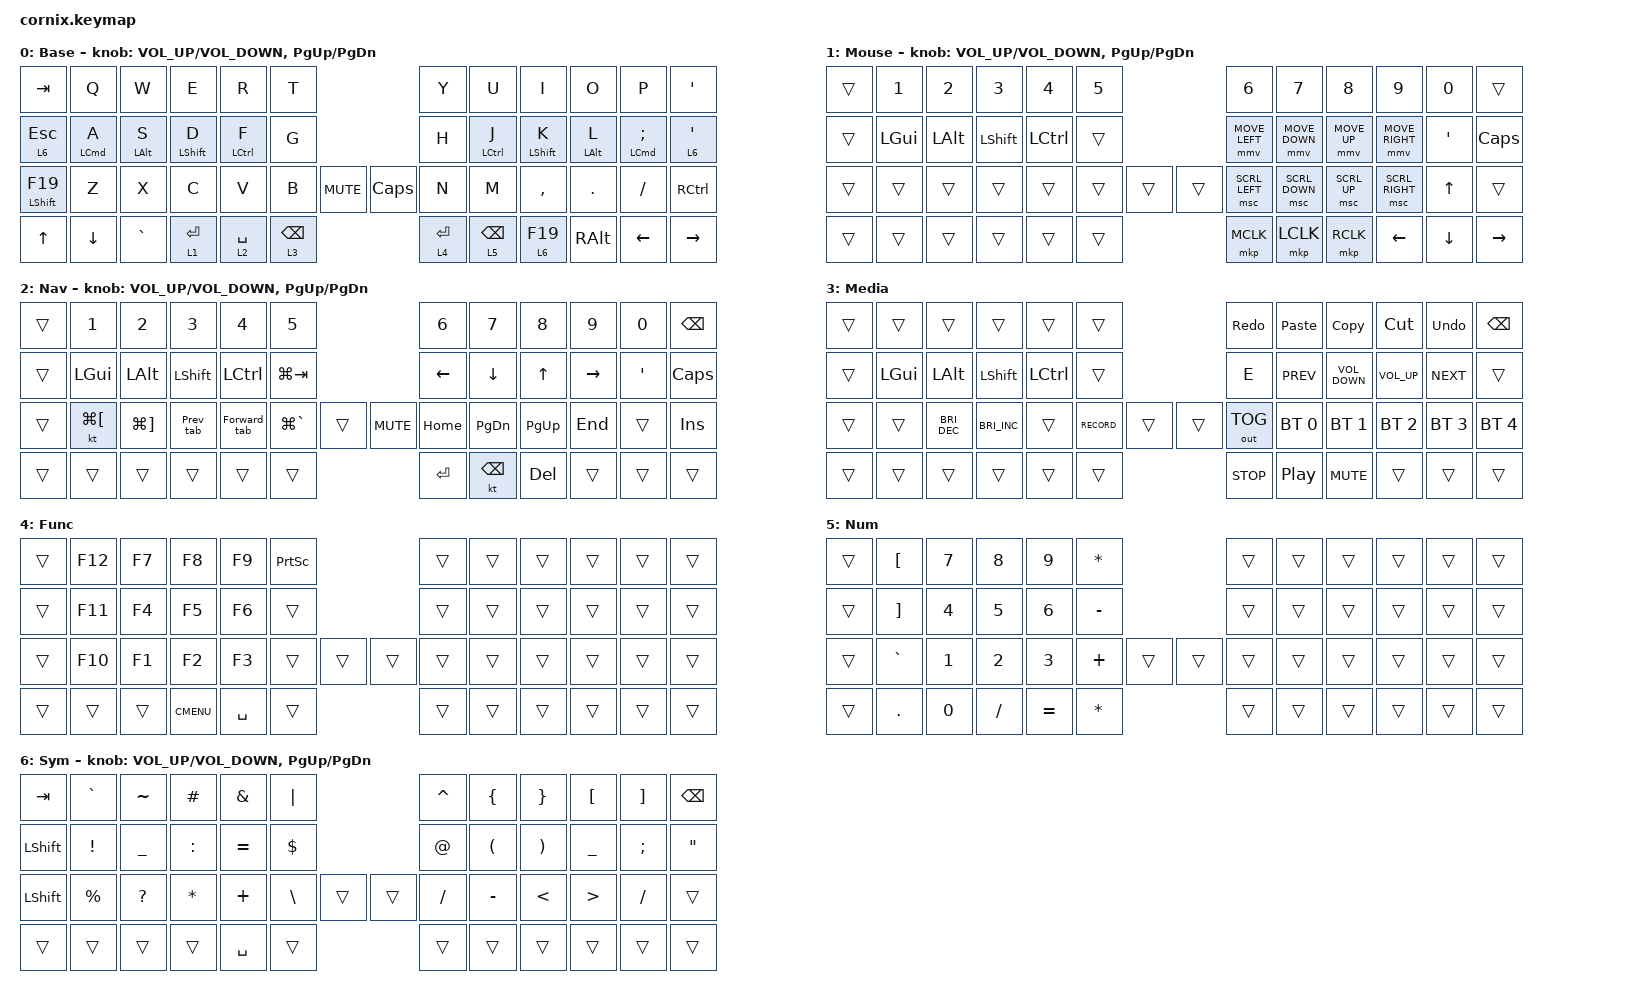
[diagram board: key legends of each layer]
/*
 * Copyright (c) 2024 The ZMK Contributors
 *
 * SPDX-License-Identifier: MIT
 */

#define ZMK_POINTING_DEFAULT_MOVE_VAL 1500  // default: 600
#define ZMK_POINTING_DEFAULT_SCRL_VAL 20    // default: 10

#include <behaviors.dtsi>
#include <dt-bindings/zmk/bt.h>
#include <dt-bindings/zmk/keys.h>
#include <dt-bindings/zmk/outputs.h>
#include <dt-bindings/zmk/pointing.h>

/ {
    behaviors {
        mt: mod_tap {
            compatible = "zmk,behavior-hold-tap";
            #binding-cells = <2>;
            flavor = "tap-preferred";
            tapping-term-ms = <180>;
            bindings = <&kp>, <&kp>;

            display-name = "Mod-Tap";
        };
    };

    macros {
        Redo: Redo {
            compatible = "zmk,behavior-macro";
            #binding-cells = <0>;
            bindings = <&kp LG(LS(Z))>;
            label = "REDO";
        };

        Undo: Undo {
            compatible = "zmk,behavior-macro";
            #binding-cells = <0>;
            bindings = <&kp LG(Z)>;
            label = "UNDO";
        };

        Copy: Copy {
            compatible = "zmk,behavior-macro";
            #binding-cells = <0>;
            bindings = <&kp LG(C)>;
            label = "COPY";
        };

        Paste: Paste {
            compatible = "zmk,behavior-macro";
            #binding-cells = <0>;
            bindings = <&kp LG(V)>;
            label = "PASTE";
        };

        Cut: Cut {
            compatible = "zmk,behavior-macro";
            #binding-cells = <0>;
            bindings = <&kp LG(X)>;
            label = "CUT";
        };

        Prev_tab: Prev {
            compatible = "zmk,behavior-macro";
            #binding-cells = <0>;
            bindings = <&kp LC(LS(TAB))>;
            label = "PREV";
        };

        Forward_tab: Forward {
            compatible = "zmk,behavior-macro";
            #binding-cells = <0>;
            bindings = <&kp LC(TAB)>;
            label = "FORWARD";
        };
    };

    keymap {
        compatible = "zmk,keymap";

        Base {
            // -----------------------------------------------------------------------------------------
            // |  TAB |  Q  |  W  |  E  |  R  |  T  |      |   |      |  Y  |  U  |  I  |  O  |  P  | BKSP |
            // | ESC  |  A  |  S  |  D  |  F  |  G  |      |   |      |  H  |  J  |  K  |  L  |  ;  |  '   |
            // | SHFT |  Z  |  X  |  C  |  V  |  B  |      |   |      |  N  |  M  |  ,  |  .  |  /  | ESC  |
            //                    | SPC | BKSP| DEL | SPC2 |   | ENT2 | ENT | SPC | F19 | RALT|

            bindings = <
&kp TAB             &kp Q               &kp W           &kp E             &kp R               &kp T                                      &kp Y        &kp U               &kp I        &kp O           &kp P                       &kp APOS
&lt 6 ESCAPE        &mt LEFT_COMMAND A  &mt LEFT_ALT S  &mt LEFT_SHIFT D  &mt LEFT_CONTROL F  &kp G                                      &kp H        &mt LEFT_CONTROL J  &mt LSHFT K  &mt LEFT_ALT L  &mt LEFT_COMMAND SEMICOLON  &lt 6 SQT
&mt LEFT_SHIFT F19  &kp Z               &kp X           &kp C             &kp V               &kp B            &kp K_MUTE  &kp CAPSLOCK  &kp N        &kp M               &kp COMMA    &kp DOT         &kp FSLH                    &kp RIGHT_CONTROL
&kp UP              &kp DOWN            &kp GRAVE       &lt 1 ENTER       &lt 2 SPACE         &lt 3 BACKSPACE                            &lt 4 ENTER  &lt 5 BACKSPACE     &lt 6 F19    &kp RALT        &kp LEFT                    &kp RIGHT
            >;

            sensor-bindings =
                <&inc_dec_kp C_VOLUME_UP C_VOLUME_DOWN>,
                <&inc_dec_kp PAGE_UP PAGE_DOWN>;
        };

        Mouse {
            bindings = <
&trans  &kp N1    &kp N2    &kp N3     &kp N4     &kp N5                  &kp N6          &kp N7          &kp N8        &kp N9           &kp N0    &trans
&trans  &kp LGUI  &kp LALT  &kp LSHFT  &kp LCTRL  &trans                  &mmv MOVE_LEFT  &mmv MOVE_DOWN  &mmv MOVE_UP  &mmv MOVE_RIGHT  &kp APOS  &kp CAPSLOCK
&trans  &trans    &trans    &trans     &trans     &trans  &trans  &trans  &msc SCRL_LEFT  &msc SCRL_DOWN  &msc SCRL_UP  &msc SCRL_RIGHT  &kp UP    &trans
&trans  &trans    &trans    &trans     &trans     &trans                  &mkp MCLK       &mkp LCLK       &mkp RCLK     &kp LEFT         &kp DOWN  &kp RIGHT
            >;

            sensor-bindings =
                <&inc_dec_kp C_VOLUME_UP C_VOLUME_DOWN>,
                <&inc_dec_kp PAGE_UP PAGE_DOWN>;
        };

        Nav {
            bindings = <
&trans  &kp N1                &kp N2                 &kp N3     &kp N4        &kp N5                             &kp N6     &kp N7         &kp N8       &kp N9     &kp N0   &kp BSPC
&trans  &kp LGUI              &kp LALT               &kp LSHFT  &kp LCTRL     &kp LG(TAB)                        &kp LEFT   &kp DOWN       &kp UP       &kp RIGHT  &kp SQT  &kp CAPS
&trans  &kt LG(LEFT_BRACKET)  &kp LG(RIGHT_BRACKET)  &Prev_tab  &Forward_tab  &kp LG(GRAVE)  &trans  &kp K_MUTE  &kp HOME   &kp PAGE_DOWN  &kp PAGE_UP  &kp END    &trans   &kp INS
&trans  &trans                &trans                 &trans     &trans        &trans                             &kp ENTER  &kt BACKSPACE  &kp DEL      &trans     &trans   &trans
            >;

            sensor-bindings =
                <&inc_dec_kp C_VOLUME_UP C_VOLUME_DOWN>,
                <&inc_dec_kp PAGE_UP PAGE_DOWN>;
        };

        Media {
            bindings = <
&trans  &trans    &trans         &trans         &trans     &trans                        &Redo         &Paste            &Copy              &Cut             &Undo         &kp BSPC
&trans  &kp LGUI  &kp LALT       &kp LSHFT      &kp LCTRL  &trans                        &kp E         &kp C_PREV        &kp C_VOLUME_DOWN  &kp C_VOLUME_UP  &kp C_NEXT    &trans
&trans  &trans    &kp C_BRI_DEC  &kp C_BRI_INC  &trans     &kp C_RECORD  &trans  &trans  &out OUT_TOG  &bt BT_SEL 0      &bt BT_SEL 1       &bt BT_SEL 2     &bt BT_SEL 3  &bt BT_SEL 4
&trans  &trans    &trans         &trans         &trans     &trans                        &kp C_STOP    &kp C_PLAY_PAUSE  &kp K_MUTE         &trans           &trans        &trans
            >;
        };

        Func {
            bindings = <
&trans  &kp F12  &kp F7  &kp F8       &kp F9     &kp PRINTSCREEN                  &trans  &trans  &trans  &trans  &trans  &trans
&trans  &kp F11  &kp F4  &kp F5       &kp F6     &trans                           &trans  &trans  &trans  &trans  &trans  &trans
&trans  &kp F10  &kp F1  &kp F2       &kp F3     &trans           &trans  &trans  &trans  &trans  &trans  &trans  &trans  &trans
&trans  &trans   &trans  &kp K_CMENU  &kp SPACE  &trans                           &trans  &trans  &trans  &trans  &trans  &trans
            >;
        };

        Num {
            bindings = <
&trans  &kp LBKT           &kp N7  &kp N8     &kp N9     &kp ASTERISK                  &trans  &trans  &trans  &trans  &trans  &trans
&trans  &kp RIGHT_BRACKET  &kp N4  &kp N5     &kp N6     &kp MINUS                     &trans  &trans  &trans  &trans  &trans  &trans
&trans  &kp GRAVE          &kp N1  &kp N2     &kp N3     &kp PLUS      &trans  &trans  &trans  &trans  &trans  &trans  &trans  &trans
&trans  &kp PERIOD         &kp N0  &kp SLASH  &kp EQUAL  &kp STAR                      &trans  &trans  &trans  &trans  &trans  &trans
            >;
        };

        Sym {
            // -----------------------------------------------------------------------------------------
            // |  TAB |  !  |  @  |  #  |  $  |  %  |      |   |      |  ^  |  &  |  *  |  (  |  )  | BKSP |
            // | CTRL |     |     |     |     |     |      |   |      |  -  |  =  |  [  |  ]  |  \  |  `   |
            // | SHFT |     |     |     |     |     |      |   |      |  _  |  +  |  {  |  }  | "|" |  ~   |
            //                    | GUI |     | SPC | SPC2 |   | ENT2 | ENT |     | ALT |

            bindings = <
&kp TAB    &kp GRAVE        &kp TILDE       &kp HASH      &kp AMPERSAND  &kp PIPE                       &kp CARET    &kp LEFT_BRACE        &kp RIGHT_BRACE        &kp LBKT          &kp RBKT   &kp BSPC
&kp LSHFT  &kp EXCLAMATION  &kp UNDERSCORE  &kp COLON     &kp EQUAL      &kp DOLLAR                     &kp AT_SIGN  &kp LEFT_PARENTHESIS  &kp RIGHT_PARENTHESIS  &kp UNDERSCORE    &kp SEMI   &kp DOUBLE_QUOTES
&kp LSHFT  &kp PERCENT      &kp QUESTION    &kp ASTERISK  &kp PLUS       &kp BACKSLASH  &trans  &trans  &kp SLASH    &kp MINUS             &kp LESS_THAN          &kp GREATER_THAN  &kp SLASH  &trans
&trans     &trans           &trans          &trans        &kp SPACE      &trans                         &trans       &trans                &trans                 &trans            &trans     &trans
            >;

            sensor-bindings =
                <&inc_dec_kp C_VOLUME_UP C_VOLUME_DOWN>,
                <&inc_dec_kp PAGE_UP PAGE_DOWN>;
        };
    };
};
